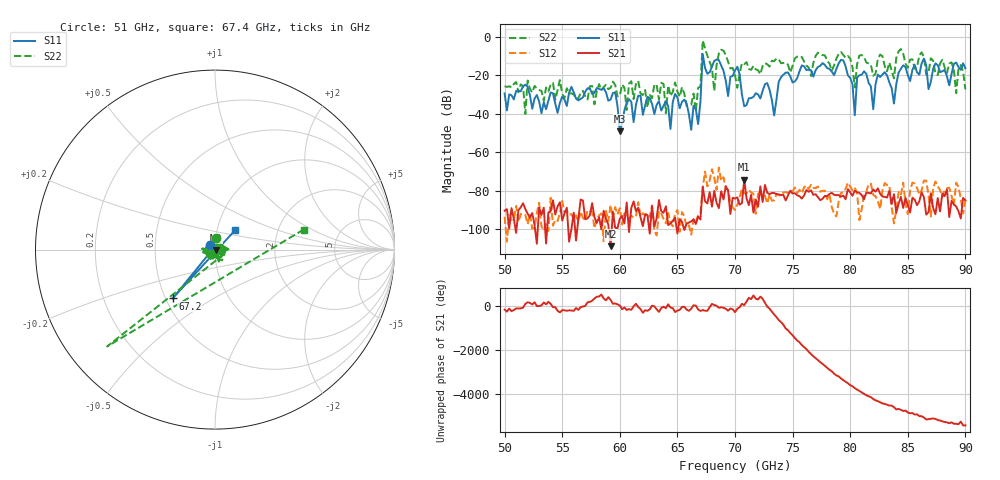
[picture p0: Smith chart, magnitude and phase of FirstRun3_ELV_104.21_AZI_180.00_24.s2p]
! 11/24/2026 3:37:39 PM
! C:\ANRITSUVNA\TEMP\TEMP.S2P
! CHANNEL.1
! TR.MEASUREMENT
! RAW.DATA
# HZ S RI R 50.0
! FREQ.HZ  S11RE  S11IM  S21RE  S21IM  S12RE  S12IM  S22RE  S22IM
!; PortSelection: Port_12
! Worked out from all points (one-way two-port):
!   201 points, 50 GHz to 90 GHz, reference 50 ohm
!   highest |S21| = -74.25 dB at 70.8 GHz (marker M1); lowest = -108.8 dB at 59.2 GHz (marker M2)
!   lowest |S11| = -49.0 dB at 60 GHz (marker M3), VSWR 1.01, Z = 50.3 - j0.154 ohm
!   |S11| at or under -10 dB: start of sweep to 67.19 GHz; 67.23 GHz to end of sweep
!   |S22| runs from -40.0 to -1.9 dB; largest |S21 - S12| = 0.00043
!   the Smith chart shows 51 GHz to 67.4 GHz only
!   S11 on the Smith chart (normalised r, x): 51 GHz: 0.94, +0.05; 67.2 GHz: 0.54, -0.34; 67.4 GHz: 1.22, +0.27
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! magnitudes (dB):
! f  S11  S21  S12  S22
! 50 GHz  -29.4  -90.3  -93.5  -25.6
! 51 GHz  -28.1  -101.9  -87.8  -23.4
! 51.8 GHz  -24.8  -89.5  -92.5  -40.0
! 52 GHz  -26.0  -91.9  -97.3  -22.6
! 56.8 GHz  -31.4  -85.0  -94.1  -28.1
! 59.2 GHz  -32.6  -108.8  -87.3  -26.5
! 60 GHz  -49.0  -94.4  -89.0  -30.5
! 63.4 GHz  -33.4  -84.8  -90.4  -32.6
! 66.8 GHz  -45.3  -93.3  -92.5  -26.5
! 67.2 GHz  -8.9  -77.9  -78.5  -1.9
! 67.4 GHz  -16.1  -85.5  -70.0  -5.9
! 68.2 GHz  -12.5  -80.0  -73.2  -28.0
! 68.8 GHz  -14.8  -80.2  -74.7  -6.7
! 70 GHz  -17.4  -84.0  -89.9  -19.9
! 70.8 GHz  -36.0  -74.2  -81.2  -14.2
! 76.8 GHz  -20.7  -82.1  -78.4  -13.6
! 79.4 GHz  -12.2  -82.5  -80.9  -9.4
! 80.4 GHz  -40.8  -79.9  -78.3  -26.2
! 80.6 GHz  -21.0  -80.7  -81.4  -14.0
! 82 GHz  -37.6  -79.3  -82.2  -20.2
! 83.4 GHz  -23.7  -80.0  -77.2  -13.3
! 90 GHz  -16.3  -84.9  -85.0  -27.3
